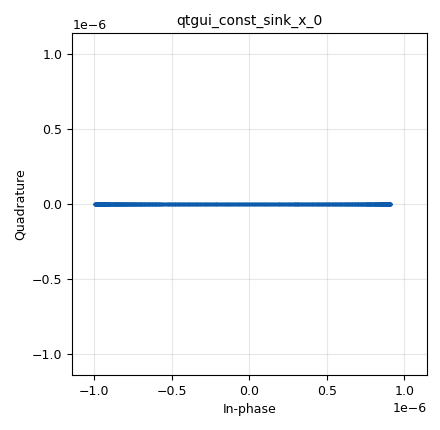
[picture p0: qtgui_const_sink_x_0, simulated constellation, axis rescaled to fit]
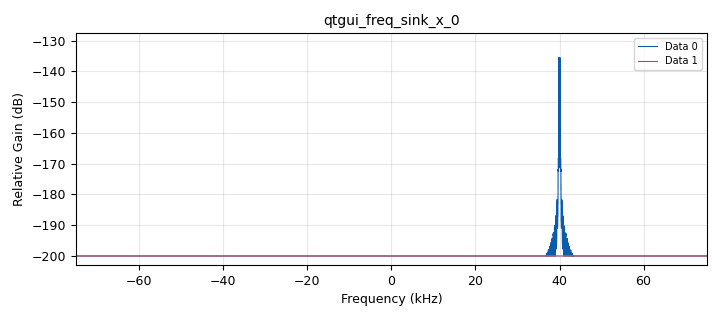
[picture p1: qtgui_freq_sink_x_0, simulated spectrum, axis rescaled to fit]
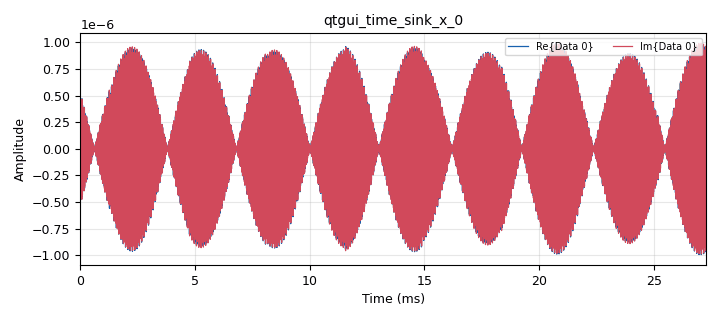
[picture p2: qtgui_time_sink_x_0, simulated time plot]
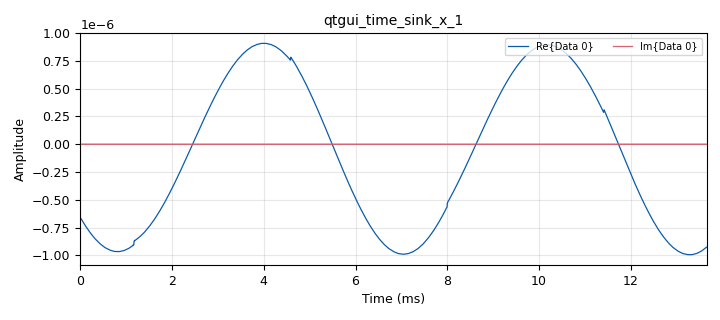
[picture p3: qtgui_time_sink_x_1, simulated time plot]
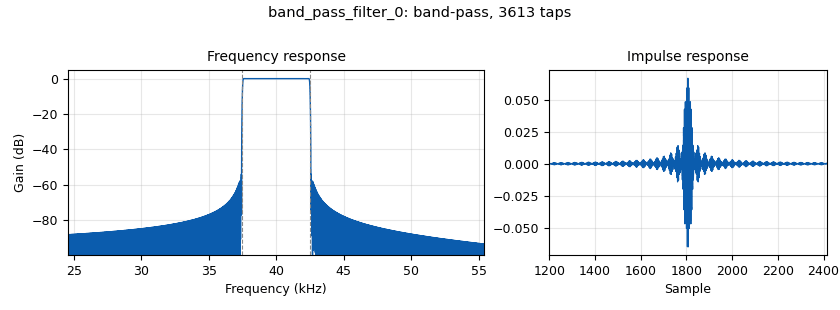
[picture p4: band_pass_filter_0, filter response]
options:
  parameters:
    generate_options: qt_gui
    id: top_block
    output_language: python
  states: {}

blocks:
- name: Carrier
  id: variable
  parameters:
    value: '40000'
  states: {}
- name: samp_rate
  id: variable
  parameters:
    value: '150000'
  states: {}
- name: width_filter
  id: variable
  parameters:
    value: '5000'
  states: {}
- name: analog_random_source_x_0
  id: analog_random_source_x
  parameters:
    max: '2'
    min: '0'
    num_samps: '2048'
    repeat: 'True'
    type: byte
  states: {}
- name: analog_sig_source_x_0
  id: analog_sig_source_x
  parameters:
    amp: '1'
    freq: Carrier
    offset: '0'
    phase: '0'
    samp_rate: samp_rate
    type: complex
    waveform: analog.GR_COS_WAVE
  states: {}
- name: band_pass_filter_0
  id: band_pass_filter
  parameters:
    decim: '1'
    gain: '1'
    high_cutoff_freq: Carrier+(width_filter/2)
    low_cutoff_freq: Carrier-(width_filter/2)
    samp_rate: '150000'
    type: fir_filter_ccf
    width: '100'
    win: firdes.WIN_HAMMING
  states: {}
- name: blocks_multiply_xx_0
  id: blocks_multiply_xx
  parameters:
    type: complex
  states: {}
- name: blocks_throttle_0
  id: blocks_throttle
  parameters:
    samples_per_second: '150000'
    type: complex
  states: {}
- name: digital_psk_mod_0
  id: digital_psk_mod
  parameters:
    constellation_points: '2'
    differential: 'True'
    excess_bw: '0.1'
    mod_code: '"gray"'
    samples_per_symbol: '512'
  states: {}
- name: qtgui_const_sink_x_0
  id: qtgui_const_sink_x
  parameters:
    size: '2048'
    type: complex
    update_time: '0.01'
  states: {}
- name: qtgui_freq_sink_x_0
  id: qtgui_freq_sink_x
  parameters:
    bw: samp_rate
    fc: '0'
    fftsize: '8192'
    nconnections: '2'
    type: complex
    wintype: firdes.WIN_BLACKMAN_hARRIS
    ymin: '-80'
  states: {}
- name: qtgui_time_sink_x_0
  id: qtgui_time_sink_x
  parameters:
    autoscale: 'True'
    size: '4096'
    srate: samp_rate
    type: complex
  states: {}
- name: qtgui_time_sink_x_1
  id: qtgui_time_sink_x
  parameters:
    autoscale: 'True'
    size: '2048'
    srate: samp_rate
    type: complex
  states: {}
- name: rational_resampler_xxx_0
  id: rational_resampler_xxx
  parameters:
    decim: '1'
    interp: '1'
    type: ccc
  states: {}

connections:
- [analog_random_source_x_0, '0', digital_psk_mod_0, '0']
- [analog_sig_source_x_0, '0', blocks_multiply_xx_0, '0']
- [band_pass_filter_0, '0', qtgui_freq_sink_x_0, '1']
- [blocks_multiply_xx_0, '0', qtgui_freq_sink_x_0, '0']
- [blocks_multiply_xx_0, '0', qtgui_time_sink_x_0, '0']
- [blocks_throttle_0, '0', band_pass_filter_0, '0']
- [blocks_throttle_0, '0', qtgui_const_sink_x_0, '0']
- [blocks_throttle_0, '0', rational_resampler_xxx_0, '0']
- [digital_psk_mod_0, '0', blocks_multiply_xx_0, '1']
- [digital_psk_mod_0, '0', blocks_throttle_0, '0']
- [rational_resampler_xxx_0, '0', qtgui_time_sink_x_1, '0']

metadata:
  file_format: 1
